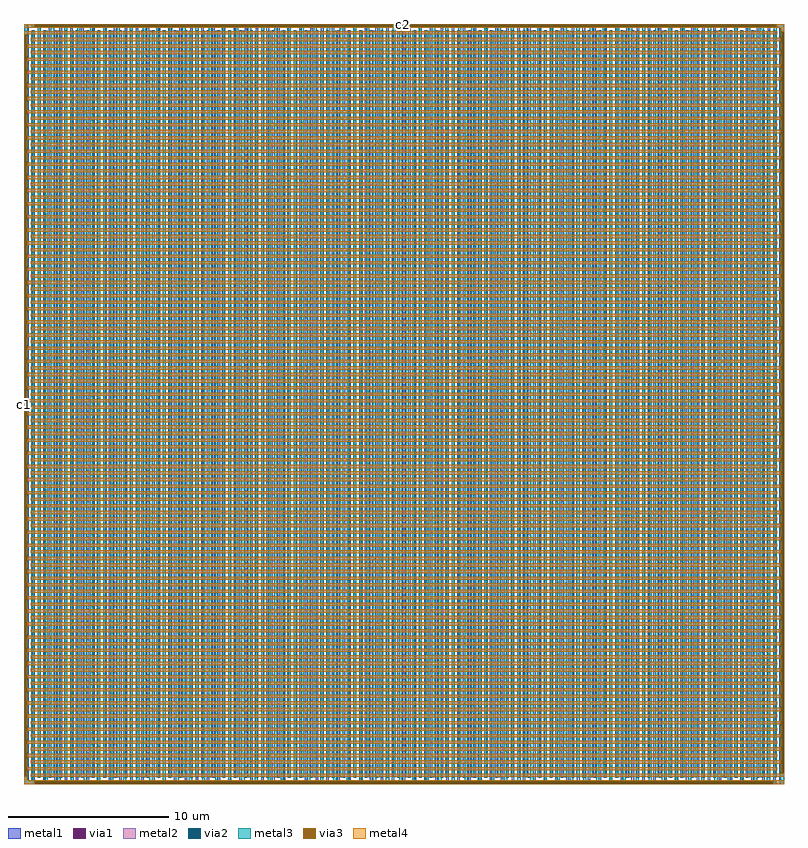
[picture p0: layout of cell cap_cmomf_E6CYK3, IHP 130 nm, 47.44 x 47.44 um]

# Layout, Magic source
magic
tech ihp-sg13cmos5l
magscale 1 2
<< metal1 >>
rect 0 9356 59 9487
rect 103 9486 9487 9487
rect 103 9446 141 9486
rect 9385 9446 9487 9486
rect 103 9445 9487 9446
rect 0 90 1 9356
rect 41 90 59 9356
rect 0 42 59 90
rect 103 42 135 9409
rect 171 78 203 9445
rect 239 42 271 9409
rect 307 78 339 9445
rect 375 42 407 9409
rect 443 78 475 9445
rect 511 42 543 9409
rect 579 78 611 9445
rect 647 42 679 9409
rect 715 78 747 9445
rect 783 42 815 9409
rect 851 78 883 9445
rect 919 42 951 9409
rect 987 78 1019 9445
rect 1055 42 1087 9409
rect 1123 78 1155 9445
rect 1191 42 1223 9409
rect 1259 78 1291 9445
rect 1327 42 1359 9409
rect 1395 78 1427 9445
rect 1463 42 1495 9409
rect 1531 78 1563 9445
rect 1599 42 1631 9409
rect 1667 78 1699 9445
rect 1735 42 1767 9409
rect 1803 78 1835 9445
rect 1871 42 1903 9409
rect 1939 78 1971 9445
rect 2007 42 2039 9409
rect 2075 78 2107 9445
rect 2143 42 2175 9409
rect 2211 78 2243 9445
rect 2279 42 2311 9409
rect 2347 78 2379 9445
rect 2415 42 2447 9409
rect 2483 78 2515 9445
rect 2551 42 2583 9409
rect 2619 78 2651 9445
rect 2687 42 2719 9409
rect 2755 78 2787 9445
rect 2823 42 2855 9409
rect 2891 78 2923 9445
rect 2959 42 2991 9409
rect 3027 78 3059 9445
rect 3095 42 3127 9409
rect 3163 78 3195 9445
rect 3231 42 3263 9409
rect 3299 78 3331 9445
rect 3367 42 3399 9409
rect 3435 78 3467 9445
rect 3503 42 3535 9409
rect 3571 78 3603 9445
rect 3639 42 3671 9409
rect 3707 78 3739 9445
rect 3775 42 3807 9409
rect 3843 78 3875 9445
rect 3911 42 3943 9409
rect 3979 78 4011 9445
rect 4047 42 4079 9409
rect 4115 78 4147 9445
rect 4183 42 4215 9409
rect 4251 78 4283 9445
rect 4319 42 4351 9409
rect 4387 78 4419 9445
rect 4455 42 4487 9409
rect 4523 78 4555 9445
rect 4591 42 4623 9409
rect 4659 78 4691 9445
rect 4727 42 4759 9409
rect 4795 78 4827 9445
rect 4863 42 4895 9409
rect 4931 78 4963 9445
rect 4999 42 5031 9409
rect 5067 78 5099 9445
rect 5135 42 5167 9409
rect 5203 78 5235 9445
rect 5271 42 5303 9409
rect 5339 78 5371 9445
rect 5407 42 5439 9409
rect 5475 78 5507 9445
rect 5543 42 5575 9409
rect 5611 78 5643 9445
rect 5679 42 5711 9409
rect 5747 78 5779 9445
rect 5815 42 5847 9409
rect 5883 78 5915 9445
rect 5951 42 5983 9409
rect 6019 78 6051 9445
rect 6087 42 6119 9409
rect 6155 78 6187 9445
rect 6223 42 6255 9409
rect 6291 78 6323 9445
rect 6359 42 6391 9409
rect 6427 78 6459 9445
rect 6495 42 6527 9409
rect 6563 78 6595 9445
rect 6631 42 6663 9409
rect 6699 78 6731 9445
rect 6767 42 6799 9409
rect 6835 78 6867 9445
rect 6903 42 6935 9409
rect 6971 78 7003 9445
rect 7039 42 7071 9409
rect 7107 78 7139 9445
rect 7175 42 7207 9409
rect 7243 78 7275 9445
rect 7311 42 7343 9409
rect 7379 78 7411 9445
rect 7447 42 7479 9409
rect 7515 78 7547 9445
rect 7583 42 7615 9409
rect 7651 78 7683 9445
rect 7719 42 7751 9409
rect 7787 78 7819 9445
rect 7855 42 7887 9409
rect 7923 78 7955 9445
rect 7991 42 8023 9409
rect 8059 78 8091 9445
rect 8127 42 8159 9409
rect 8195 78 8227 9445
rect 8263 42 8295 9409
rect 8331 78 8363 9445
rect 8399 42 8431 9409
rect 8467 78 8499 9445
rect 8535 42 8567 9409
rect 8603 78 8635 9445
rect 8671 42 8703 9409
rect 8739 78 8771 9445
rect 8807 42 8839 9409
rect 8875 78 8907 9445
rect 8943 42 8975 9409
rect 9011 78 9043 9445
rect 9079 42 9111 9409
rect 9147 78 9179 9445
rect 9215 42 9247 9409
rect 9283 78 9315 9445
rect 9351 42 9383 9409
rect 0 41 9383 42
rect 0 1 141 41
rect 9345 1 9383 41
rect 0 0 9383 1
rect 9427 9396 9487 9445
rect 9427 130 9446 9396
rect 9486 130 9487 9396
rect 9427 0 9487 130
<< via1 >>
rect 141 9446 9385 9486
rect 1 90 41 9356
rect 141 1 9345 41
rect 9446 130 9486 9396
<< metal2 >>
rect 0 9447 130 9487
rect 9396 9447 9487 9487
rect 0 9446 141 9447
rect 9385 9446 9487 9447
rect 0 9438 9487 9446
rect 9446 9396 9487 9438
rect 0 9356 9403 9396
rect 84 9274 9446 9314
rect 41 9192 9403 9232
rect 84 9110 9446 9150
rect 41 9028 9403 9068
rect 84 8946 9446 8986
rect 41 8864 9403 8904
rect 84 8782 9446 8822
rect 41 8700 9403 8740
rect 84 8618 9446 8658
rect 41 8536 9403 8576
rect 84 8454 9446 8494
rect 41 8372 9403 8412
rect 84 8290 9446 8330
rect 41 8208 9403 8248
rect 84 8126 9446 8166
rect 41 8044 9403 8084
rect 84 7962 9446 8002
rect 41 7880 9403 7920
rect 84 7798 9446 7838
rect 41 7716 9403 7756
rect 84 7634 9446 7674
rect 41 7552 9403 7592
rect 84 7470 9446 7510
rect 41 7388 9403 7428
rect 84 7306 9446 7346
rect 41 7224 9403 7264
rect 84 7142 9446 7182
rect 41 7060 9403 7100
rect 84 6978 9446 7018
rect 41 6896 9403 6936
rect 84 6814 9446 6854
rect 41 6732 9403 6772
rect 84 6650 9446 6690
rect 41 6568 9403 6608
rect 84 6486 9446 6526
rect 41 6404 9403 6444
rect 84 6322 9446 6362
rect 41 6240 9403 6280
rect 84 6158 9446 6198
rect 41 6076 9403 6116
rect 84 5994 9446 6034
rect 41 5912 9403 5952
rect 84 5830 9446 5870
rect 41 5748 9403 5788
rect 84 5666 9446 5706
rect 41 5584 9403 5624
rect 84 5502 9446 5542
rect 41 5420 9403 5460
rect 84 5338 9446 5378
rect 41 5256 9403 5296
rect 84 5174 9446 5214
rect 41 5092 9403 5132
rect 84 5010 9446 5050
rect 41 4928 9403 4968
rect 84 4846 9446 4886
rect 41 4764 9403 4804
rect 84 4682 9446 4722
rect 41 4600 9403 4640
rect 84 4518 9446 4558
rect 41 4436 9403 4476
rect 84 4354 9446 4394
rect 41 4272 9403 4312
rect 84 4190 9446 4230
rect 41 4108 9403 4148
rect 84 4026 9446 4066
rect 41 3944 9403 3984
rect 84 3862 9446 3902
rect 41 3780 9403 3820
rect 84 3698 9446 3738
rect 41 3616 9403 3656
rect 84 3534 9446 3574
rect 41 3452 9403 3492
rect 84 3370 9446 3410
rect 41 3288 9403 3328
rect 84 3206 9446 3246
rect 41 3124 9403 3164
rect 84 3042 9446 3082
rect 41 2960 9403 3000
rect 84 2878 9446 2918
rect 41 2796 9403 2836
rect 84 2714 9446 2754
rect 41 2632 9403 2672
rect 84 2550 9446 2590
rect 41 2468 9403 2508
rect 84 2386 9446 2426
rect 41 2304 9403 2344
rect 84 2222 9446 2262
rect 41 2140 9403 2180
rect 84 2058 9446 2098
rect 41 1976 9403 2016
rect 84 1894 9446 1934
rect 41 1812 9403 1852
rect 84 1730 9446 1770
rect 41 1648 9403 1688
rect 84 1566 9446 1606
rect 41 1484 9403 1524
rect 84 1402 9446 1442
rect 41 1320 9403 1360
rect 84 1238 9446 1278
rect 41 1156 9403 1196
rect 84 1074 9446 1114
rect 41 992 9403 1032
rect 84 910 9446 950
rect 41 828 9403 868
rect 84 746 9446 786
rect 41 664 9403 704
rect 84 582 9446 622
rect 41 500 9403 540
rect 84 418 9446 458
rect 41 336 9403 376
rect 84 254 9446 294
rect 41 172 9403 212
rect 84 90 9487 130
rect 0 48 41 90
rect 0 41 9487 48
rect 0 40 141 41
rect 9345 40 9487 41
rect 0 0 130 40
rect 9356 0 9487 40
<< via2 >>
rect 130 9486 9396 9487
rect 130 9447 141 9486
rect 141 9447 9385 9486
rect 9385 9447 9396 9486
rect 0 90 1 9356
rect 1 90 40 9356
rect 9447 130 9486 9396
rect 9486 130 9487 9396
rect 130 1 141 40
rect 141 1 9345 40
rect 9345 1 9356 40
rect 130 0 9356 1
<< metal3 >>
rect 0 9356 48 9487
rect 90 9447 130 9487
rect 9396 9447 9487 9487
rect 40 90 48 9356
rect 0 40 48 90
rect 90 40 130 9405
rect 172 82 212 9447
rect 254 40 294 9405
rect 336 82 376 9447
rect 418 40 458 9405
rect 500 82 540 9447
rect 582 40 622 9405
rect 664 82 704 9447
rect 746 40 786 9405
rect 828 82 868 9447
rect 910 40 950 9405
rect 992 82 1032 9447
rect 1074 40 1114 9405
rect 1156 82 1196 9447
rect 1238 40 1278 9405
rect 1320 82 1360 9447
rect 1402 40 1442 9405
rect 1484 82 1524 9447
rect 1566 40 1606 9405
rect 1648 82 1688 9447
rect 1730 40 1770 9405
rect 1812 82 1852 9447
rect 1894 40 1934 9405
rect 1976 82 2016 9447
rect 2058 40 2098 9405
rect 2140 82 2180 9447
rect 2222 40 2262 9405
rect 2304 82 2344 9447
rect 2386 40 2426 9405
rect 2468 82 2508 9447
rect 2550 40 2590 9405
rect 2632 82 2672 9447
rect 2714 40 2754 9405
rect 2796 82 2836 9447
rect 2878 40 2918 9405
rect 2960 82 3000 9447
rect 3042 40 3082 9405
rect 3124 82 3164 9447
rect 3206 40 3246 9405
rect 3288 82 3328 9447
rect 3370 40 3410 9405
rect 3452 82 3492 9447
rect 3534 40 3574 9405
rect 3616 82 3656 9447
rect 3698 40 3738 9405
rect 3780 82 3820 9447
rect 3862 40 3902 9405
rect 3944 82 3984 9447
rect 4026 40 4066 9405
rect 4108 82 4148 9447
rect 4190 40 4230 9405
rect 4272 82 4312 9447
rect 4354 40 4394 9405
rect 4436 82 4476 9447
rect 4518 40 4558 9405
rect 4600 82 4640 9447
rect 4682 40 4722 9405
rect 4764 82 4804 9447
rect 4846 40 4886 9405
rect 4928 82 4968 9447
rect 5010 40 5050 9405
rect 5092 82 5132 9447
rect 5174 40 5214 9405
rect 5256 82 5296 9447
rect 5338 40 5378 9405
rect 5420 82 5460 9447
rect 5502 40 5542 9405
rect 5584 82 5624 9447
rect 5666 40 5706 9405
rect 5748 82 5788 9447
rect 5830 40 5870 9405
rect 5912 82 5952 9447
rect 5994 40 6034 9405
rect 6076 82 6116 9447
rect 6158 40 6198 9405
rect 6240 82 6280 9447
rect 6322 40 6362 9405
rect 6404 82 6444 9447
rect 6486 40 6526 9405
rect 6568 82 6608 9447
rect 6650 40 6690 9405
rect 6732 82 6772 9447
rect 6814 40 6854 9405
rect 6896 82 6936 9447
rect 6978 40 7018 9405
rect 7060 82 7100 9447
rect 7142 40 7182 9405
rect 7224 82 7264 9447
rect 7306 40 7346 9405
rect 7388 82 7428 9447
rect 7470 40 7510 9405
rect 7552 82 7592 9447
rect 7634 40 7674 9405
rect 7716 82 7756 9447
rect 7798 40 7838 9405
rect 7880 82 7920 9447
rect 7962 40 8002 9405
rect 8044 82 8084 9447
rect 8126 40 8166 9405
rect 8208 82 8248 9447
rect 8290 40 8330 9405
rect 8372 82 8412 9447
rect 8454 40 8494 9405
rect 8536 82 8576 9447
rect 8618 40 8658 9405
rect 8700 82 8740 9447
rect 8782 40 8822 9405
rect 8864 82 8904 9447
rect 8946 40 8986 9405
rect 9028 82 9068 9447
rect 9110 40 9150 9405
rect 9192 82 9232 9447
rect 9274 40 9314 9405
rect 9356 82 9396 9447
rect 9438 9396 9487 9447
rect 9438 130 9447 9396
rect 0 0 130 40
rect 9356 0 9396 40
rect 9438 0 9487 130
<< via3 >>
rect 130 9447 9396 9487
rect 0 90 40 9356
rect 9447 130 9487 9396
rect 130 0 9356 40
<< metal4 >>
rect 0 9447 130 9487
rect 9396 9447 9487 9487
rect 0 9438 9487 9447
rect 9447 9396 9487 9438
rect 0 9356 9405 9396
rect 82 9274 9447 9314
rect 40 9192 9405 9232
rect 82 9110 9447 9150
rect 40 9028 9405 9068
rect 82 8946 9447 8986
rect 40 8864 9405 8904
rect 82 8782 9447 8822
rect 40 8700 9405 8740
rect 82 8618 9447 8658
rect 40 8536 9405 8576
rect 82 8454 9447 8494
rect 40 8372 9405 8412
rect 82 8290 9447 8330
rect 40 8208 9405 8248
rect 82 8126 9447 8166
rect 40 8044 9405 8084
rect 82 7962 9447 8002
rect 40 7880 9405 7920
rect 82 7798 9447 7838
rect 40 7716 9405 7756
rect 82 7634 9447 7674
rect 40 7552 9405 7592
rect 82 7470 9447 7510
rect 40 7388 9405 7428
rect 82 7306 9447 7346
rect 40 7224 9405 7264
rect 82 7142 9447 7182
rect 40 7060 9405 7100
rect 82 6978 9447 7018
rect 40 6896 9405 6936
rect 82 6814 9447 6854
rect 40 6732 9405 6772
rect 82 6650 9447 6690
rect 40 6568 9405 6608
rect 82 6486 9447 6526
rect 40 6404 9405 6444
rect 82 6322 9447 6362
rect 40 6240 9405 6280
rect 82 6158 9447 6198
rect 40 6076 9405 6116
rect 82 5994 9447 6034
rect 40 5912 9405 5952
rect 82 5830 9447 5870
rect 40 5748 9405 5788
rect 82 5666 9447 5706
rect 40 5584 9405 5624
rect 82 5502 9447 5542
rect 40 5420 9405 5460
rect 82 5338 9447 5378
rect 40 5256 9405 5296
rect 82 5174 9447 5214
rect 40 5092 9405 5132
rect 82 5010 9447 5050
rect 40 4928 9405 4968
rect 82 4846 9447 4886
rect 40 4764 9405 4804
rect 82 4682 9447 4722
rect 40 4600 9405 4640
rect 82 4518 9447 4558
rect 40 4436 9405 4476
rect 82 4354 9447 4394
rect 40 4272 9405 4312
rect 82 4190 9447 4230
rect 40 4108 9405 4148
rect 82 4026 9447 4066
rect 40 3944 9405 3984
rect 82 3862 9447 3902
rect 40 3780 9405 3820
rect 82 3698 9447 3738
rect 40 3616 9405 3656
rect 82 3534 9447 3574
rect 40 3452 9405 3492
rect 82 3370 9447 3410
rect 40 3288 9405 3328
rect 82 3206 9447 3246
rect 40 3124 9405 3164
rect 82 3042 9447 3082
rect 40 2960 9405 3000
rect 82 2878 9447 2918
rect 40 2796 9405 2836
rect 82 2714 9447 2754
rect 40 2632 9405 2672
rect 82 2550 9447 2590
rect 40 2468 9405 2508
rect 82 2386 9447 2426
rect 40 2304 9405 2344
rect 82 2222 9447 2262
rect 40 2140 9405 2180
rect 82 2058 9447 2098
rect 40 1976 9405 2016
rect 82 1894 9447 1934
rect 40 1812 9405 1852
rect 82 1730 9447 1770
rect 40 1648 9405 1688
rect 82 1566 9447 1606
rect 40 1484 9405 1524
rect 82 1402 9447 1442
rect 40 1320 9405 1360
rect 82 1238 9447 1278
rect 40 1156 9405 1196
rect 82 1074 9447 1114
rect 40 992 9405 1032
rect 82 910 9447 950
rect 40 828 9405 868
rect 82 746 9447 786
rect 40 664 9405 704
rect 82 582 9447 622
rect 40 500 9405 540
rect 82 418 9447 458
rect 40 336 9405 376
rect 82 254 9447 294
rect 40 172 9405 212
rect 82 90 9487 130
rect 0 48 40 90
rect 0 40 9487 48
rect 0 0 130 40
rect 9356 0 9487 40
<< labels >>
rlabel via3 2 4743 2 4743 0 c1
port 1 nsew
rlabel via3 4743 9485 4743 9485 0 c2
port 2 nsew
<< properties >>
string device devcap None 0 0 1 1 3146.1618 c1 0 0 c2 0 0
string FIXED_BBOX 0 0 9487 9487
string gencell cap_cmomf
string library sg13cmos5l
string parameters w 47.434 l 47.434 value 2895.750 class capacitor mmin metal1 mmax metal4 square 1 subblock 0 lmin 2.00 wmin 2.00 lmax 100.0 wmax 100.0
<< end >>
